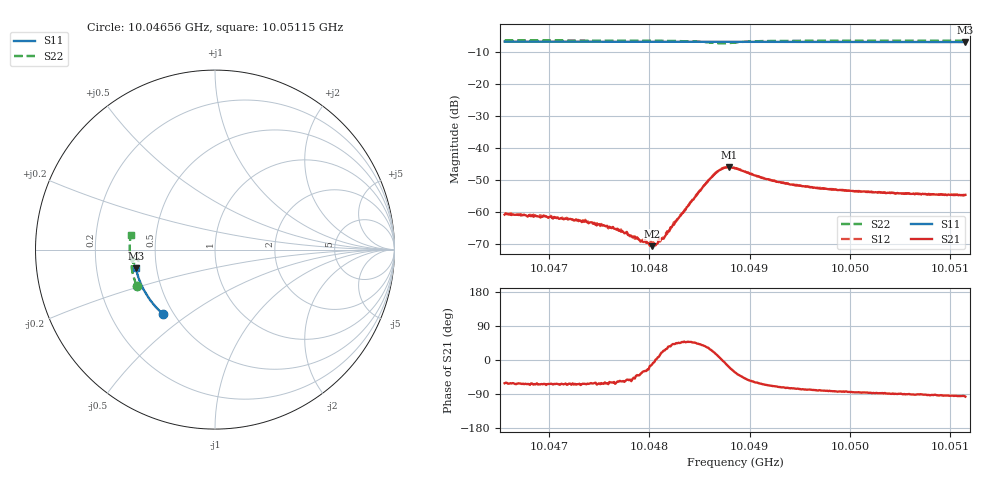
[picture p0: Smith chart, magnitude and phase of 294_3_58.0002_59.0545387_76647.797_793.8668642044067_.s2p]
#  HZ  S  RI  R  50.00
! Rohde & Schwarz Vector Network Analyzer
! Rohde-Schwarz,ZNB20-2Port,1311601062101988,3.16
! Created: UTC 3/21/2024, 1:03:25 AM
! freq[Hz]  re:S11  im:S11  re:S21  im:S21  re:S12  im:S12  re:S22  im:S22
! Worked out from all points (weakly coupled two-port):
!   401 points, 10.04656 GHz to 10.05115 GHz, reference 50 ohm
!   highest |S21| = -46.02 dB at 10.0488 GHz (marker M1); lowest = -70.8 dB at 10.04803 GHz (marker M2)
!   lowest |S11| = -6.9 dB at 10.05115 GHz (marker M3), VSWR 2.65, Z = 19.1 - j4.98 ohm
!   |S11| at or under -10 dB: nowhere
!   |S22| runs from -7.3 to -6.4 dB; largest |S21 - S12| = 0.00035
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1.0046555e10  -0.2889 -0.3593  0.000431 -0.000792  0.000505 -0.000781  -0.4354 -0.2013
1.0047004e10  -0.3107 -0.3393  0.000374 -0.000744  0.000413 -0.000732  -0.4464 -0.1731
1.0047325e10  -0.3256 -0.3241  0.000307 -0.000617  0.000333 -0.000629  -0.4533 -0.152
1.0047383e10  -0.3281 -0.3214  0.000317 -0.000604  0.000342 -0.000609  -0.4544 -0.1484
1.0047659e10  -0.3402 -0.3077  0.000245 -0.000479  0.000315 -0.000462  -0.4592 -0.1292
1.0047762e10  -0.3446 -0.3025  0.000268 -0.000381  0.00032 -0.000349  -0.4608 -0.1218
1.0047877e10  -0.3494 -0.2965  0.000303 -0.000252  0.000299 -0.000263  -0.4621 -0.1135
1.0048027e10  -0.3554 -0.2887  0.000284 -5.77e-05  0.000314 -3.01e-05  -0.4635 -0.102
1.0048061e10  -0.3567 -0.2868  0.000298 4.17e-06  0.000323 1.45e-05  -0.4638 -0.0992
1.0048095e10  -0.3581 -0.285  0.000368 5.65e-05  0.000338 5.96e-05  -0.4639 -0.0964
1.0048141e10  -0.3599 -0.2827  0.000343 0.000158  0.000353 0.000196  -0.4639 -0.0927
1.0048509e10  -0.3739 -0.2627  0.00162 0.00141  0.00157 0.00155  -0.4535 -0.0583
1.0048636e10  -0.378 -0.2556  0.00341 0.00138  0.00336 0.00161  -0.4374 -0.0531
1.0048716e10  -0.3807 -0.2512  0.00461 0.000187  0.00465 0.000514  -0.4278 -0.0613
1.0048797e10  -0.3835 -0.247  0.00473 -0.00163  0.00482 -0.00137  -0.4305 -0.074
1.0048854e10  -0.3854 -0.2439  0.00402 -0.00257  0.00423 -0.00235  -0.4383 -0.0784
1.0049187e10  -0.3965 -0.2248  0.00127 -0.00297  0.00142 -0.00287  -0.4674 -0.0562
1.0049417e10  -0.4035 -0.2114  0.00072 -0.00257  0.000857 -0.00255  -0.4728 -0.0368
1.0049624e10  -0.4094 -0.199  0.000464 -0.00237  0.000612 -0.00235  -0.4747 -0.0209
1.0050038e10  -0.4199 -0.1739  0.000183 -0.0021  0.000335 -0.00208  -0.4756 0.0089
1.0050394e10  -0.4278 -0.152  4.93e-05 -0.00197  0.000178 -0.00199  -0.4747 0.0334
1.0051153e10  -0.4407 -0.104  -0.000211 -0.00183  -6.24e-05 -0.00182  -0.4681 0.0839
